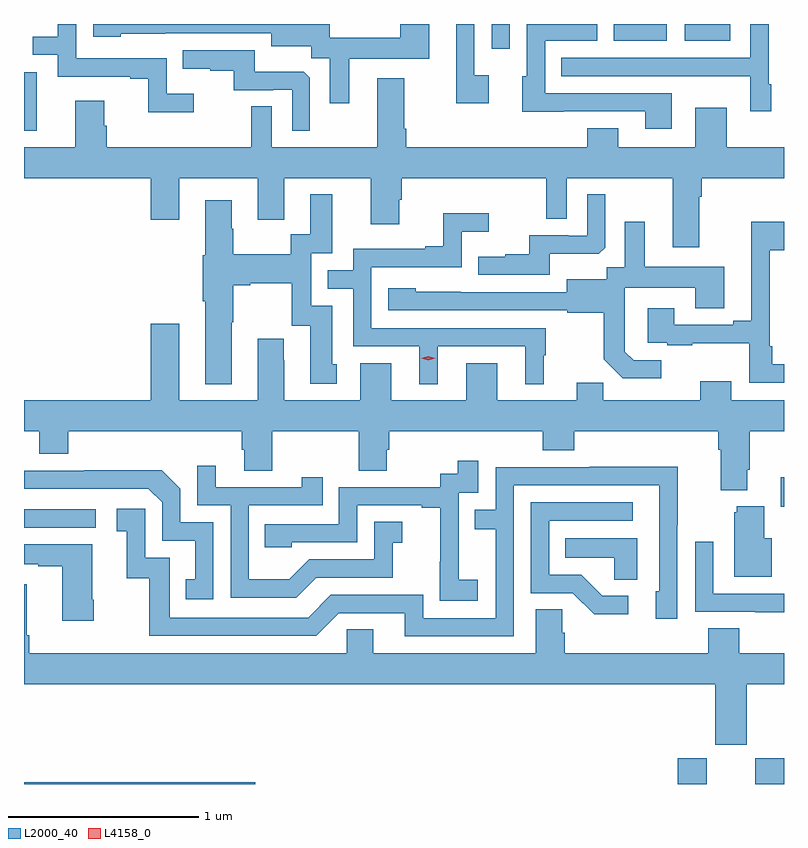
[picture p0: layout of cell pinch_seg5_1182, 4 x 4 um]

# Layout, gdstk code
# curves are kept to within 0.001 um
import gdstk
lib = gdstk.Library(unit=1e-6, precision=1e-09)
def R(c, l, rs):  # rectangles x0, y0, x1, y1
    for r in rs: c.add(gdstk.rectangle(r[:2], r[2:], *l))
def P(c, l, *ps):  # polygons
    for p in ps: c.add(gdstk.Polygon(p, *l))
L2000_40 = (2000, 40)
L4158_0 = (4158, 0)

pinch_seg5_1182 = lib.new_cell('pinch_seg5_1182')
R(pinch_seg5_1182, L2000_40, [(549.425,904.188,550.642,904.196), (552.866,904.188,553.018,904.323), (553.274,904.188,553.425,904.323), (549.425,905.538,549.802,905.634), (553.409,905.647,553.425,905.803), (549.425,907.626,549.493,907.935), (551.886,908.058,551.982,908.188), (552.53,908.099,552.808,908.188), (552.902,908.099,553.141,908.188)])
P(pinch_seg5_1182, L2000_40, [(550.318,907.822),(550.176,907.822),(550.176,908.007),(549.699,908.007),(549.699,908.188),(549.603,908.188),(549.603,908.121),(549.47,908.121),(549.47,908.025),(549.603,908.025),(549.603,907.911),(549.983,907.911),(549.983,907.899),(550.078,907.899),(550.078,907.724),(550.318,907.724)],
  [(552.835,907.824),(552.168,907.824),(552.168,908.1),(552.441,908.1),(552.441,908.188),(552.072,908.188),(552.072,907.914),(552.047,907.914),(552.047,907.727),(552.265,907.727),(552.265,907.728),(552.695,907.728),(552.695,907.638),(552.835,907.638)],
  [(551.872,907.918),(551.796,907.918),(551.796,908.188),(551.699,908.188),(551.699,907.77),(551.872,907.77)],
  [(553.357,907.872),(553.344,907.872),(553.344,908.188),(553.248,908.188),(553.248,908.01),(552.253,908.01),(552.253,907.914),(552.931,907.914),(552.931,907.913),(553.248,907.913),(553.248,907.728),(553.357,907.728)],
  [(551.137,908.006),(551.557,908.006),(551.557,908.188),(551.405,908.188),(551.405,908.116),(551.034,908.116),(551.034,908.188),(549.789,908.188),(549.789,908.12),(549.933,908.12),(549.933,908.138),(550.169,908.138),(550.169,908.139),(550.727,908.139),(550.727,908.072),(550.938,908.072),(550.938,908.008),(551.033,908.008),(551.033,907.77),(551.137,907.77)],
  [(550.929,907.905),(550.897,907.937),(550.639,907.937),(550.639,908.049),(550.261,908.049),(550.261,907.952),(550.405,907.952),(550.405,907.941),(550.529,907.941),(550.529,907.839),(550.736,907.839),(550.736,907.842),(550.836,907.842),(550.836,907.625),(550.929,907.625)],
  [(552.979,907.28),(552.992,907.28),(552.992,907.376),(553.425,907.376),(553.425,907.54),(553.123,907.54),(553.123,907.747),(552.959,907.747),(552.959,907.54),(552.553,907.54),(552.553,907.639),(552.389,907.639),(552.389,907.54),(551.438,907.54),(551.438,907.636),(551.425,907.636),(551.425,907.903),(551.285,907.903),(551.285,907.54),(550.728,907.54),(550.728,907.754),(550.62,907.754),(550.62,907.54),(549.86,907.54),(549.86,907.653),(549.847,907.653),(549.847,907.783),(549.695,907.783),(549.695,907.54),(549.425,907.54),(549.425,907.376),(550.091,907.376),(550.091,907.158),(550.243,907.158),(550.243,907.376),(550.655,907.376),(550.655,907.158),(550.795,907.158),(550.795,907.376),(551.249,907.376),(551.249,907.134),(551.401,907.134),(551.401,907.263),(551.414,907.263),(551.414,907.376),(552.174,907.376),(552.174,907.162),(552.282,907.162),(552.282,907.376),(552.839,907.376),(552.839,907.014),(552.979,907.014)],
  [(550.519,906.619),(550.527,906.619),(550.527,906.812),(550.615,906.812),(550.615,906.824),(550.835,906.824),(550.835,906.6),(550.931,906.6),(550.931,906.294),(551.071,906.294),(551.071,906.396),(551.047,906.396),(551.047,906.705),(550.938,906.705),(550.938,906.981),(551.047,906.981),(551.047,907.291),(550.931,907.291),(550.931,907.082),(550.83,907.082),(550.83,906.976),(550.527,906.976),(550.527,907.11),(550.519,907.11),(550.519,907.261),(550.379,907.261),(550.379,906.972),(550.367,906.972),(550.367,906.728),(550.379,906.728),(550.379,906.293),(550.519,906.293)],
  [(552.193,906.98),(552.451,906.98),(552.483,907.011),(552.483,907.291),(552.39,907.291),(552.39,907.074),(552.29,907.074),(552.29,907.077),(552.083,907.077),(552.083,906.976),(551.959,906.976),(551.959,906.964),(551.815,906.964),(551.815,906.867),(552.193,906.867)],
  [(551.602,906.492),(552.062,906.492),(552.062,906.293),(552.16,906.293),(552.16,906.444),(552.172,906.444),(552.172,906.588),(551.253,906.588),(551.253,906.909),(551.73,906.909),(551.73,907.094),(551.872,907.094),(551.872,907.193),(551.632,907.193),(551.632,907.018),(551.537,907.018),(551.537,907.005),(551.157,907.005),(551.157,906.891),(551.023,906.891),(551.023,906.795),(551.157,906.795),(551.157,906.492),(551.504,906.492),(551.504,906.293),(551.602,906.293)],
  [(552.778,906.417),(552.633,906.417),(552.586,906.464),(552.586,906.559),(552.588,906.559),(552.588,906.8),(552.959,906.8),(552.959,906.691),(553.111,906.691),(553.111,906.91),(552.691,906.91),(552.691,907.147),(552.587,907.147),(552.587,906.908),(552.492,906.908),(552.492,906.844),(552.281,906.844),(552.281,906.777),(551.487,906.778),(551.487,906.796),(551.343,906.796),(551.343,906.681),(552.285,906.681),(552.285,906.669),(552.477,906.669),(552.477,906.423),(552.577,906.323),(552.778,906.323)],
  [(553.425,906.397),(553.363,906.397),(553.363,906.493),(553.35,906.493),(553.35,906.998),(553.425,906.998),(553.425,907.147),(553.253,907.147),(553.253,906.625),(553.157,906.625),(553.157,906.606),(552.847,906.606),(552.847,906.691),(552.707,906.691),(552.707,906.51),(552.811,906.51),(552.811,906.498),(552.943,906.498),(552.943,906.509),(553.242,906.509),(553.242,906.3),(553.425,906.3)],
  [(551.753,906.403),(551.753,906.208),(551.359,906.208),(551.359,906.403),(551.195,906.403),(551.195,906.208),(550.795,906.208),(550.795,906.419),(550.792,906.419),(550.792,906.532),(550.655,906.532),(550.655,906.208),(550.243,906.208),(550.243,906.61),(550.091,906.61),(550.091,906.208),(549.425,906.208),(549.425,906.044),(549.506,906.044),(549.506,905.927),(549.659,905.927),(549.659,906.044),(550.571,906.044),(550.571,905.946),(550.583,905.946),(550.583,905.836),(550.731,905.836),(550.731,906.044),(551.188,906.044),(551.188,905.836),(551.335,905.836),(551.335,905.946),(551.348,905.946),(551.348,906.044),(552.155,906.044),(552.155,905.945),(552.32,905.945),(552.32,906.044),(553.079,906.044),(553.079,905.948),(553.091,905.948),(553.091,905.735),(553.231,905.735),(553.231,905.842),(553.244,905.842),(553.244,906.044),(553.425,906.044),(553.425,906.208),(553.147,906.208),(553.147,906.307),(552.983,906.307),(552.983,906.208),(552.473,906.208),(552.473,906.299),(552.335,906.299),(552.335,906.208),(551.917,906.208),(551.917,906.403)],
  [(551.812,905.263),(551.714,905.263),(551.714,905.492),(551.712,905.492),(551.712,905.721),(551.817,905.721),(551.817,905.89),(551.709,905.89),(551.709,905.82),(551.616,905.82),(551.616,905.751),(551.082,905.751),(551.082,905.556),(550.693,905.556),(550.693,905.433),(550.833,905.433),(550.833,905.46),(551.178,905.46),(551.178,905.655),(551.519,905.655),(551.519,905.643),(551.615,905.643),(551.615,905.359),(551.614,905.359),(551.614,905.153),(551.812,905.153)],
  [(550.963,905.274),(551.367,905.274),(551.367,905.459),(551.416,905.459),(551.416,905.569),(551.268,905.569),(551.268,905.37),(550.926,905.37),(550.822,905.266),(550.608,905.266),(550.608,905.655),(550.997,905.655),(550.997,905.803),(550.886,905.803),(550.886,905.751),(550.435,905.751),(550.435,905.863),(550.338,905.863),(550.338,905.655),(550.512,905.655),(550.512,905.169),(550.858,905.169)],
  [(552.003,905.76),(552.768,905.76),(552.768,905.202),(552.749,905.202),(552.749,905.058),(552.864,905.058),(552.864,905.551),(552.867,905.551),(552.867,905.858),(552.403,905.858),(552.403,905.856),(551.907,905.856),(551.907,905.631),(551.797,905.631),(551.797,905.53),(551.907,905.53),(551.907,905.061),(551.526,905.061),(551.526,905.184),(551.04,905.184),(550.92,905.064),(550.191,905.064),(550.191,905.379),(550.062,905.379),(550.062,905.638),(549.912,905.638),(549.912,905.517),(549.965,905.517),(549.965,905.271),(550.083,905.271),(550.083,904.968),(550.962,904.968),(551.082,905.088),(551.429,905.088),(551.429,904.965),(552.003,904.965)],
  [(550.422,905.565),(550.248,905.565),(550.248,905.742),(550.15,905.84),(549.742,905.84),(549.742,905.838),(549.425,905.838),(549.425,905.742),(550.08,905.742),(550.152,905.67),(550.152,905.469),(550.325,905.469),(550.325,905.265),(550.276,905.265),(550.276,905.16),(550.422,905.16)],
  [(552.604,905.178),(552.469,905.178),(552.358,905.289),(552.189,905.289),(552.189,905.574),(552.628,905.574),(552.628,905.67),(552.093,905.67),(552.093,905.193),(552.312,905.193),(552.425,905.081),(552.604,905.081)],
  [(553.36,905.482),(553.321,905.482),(553.321,905.65),(553.175,905.65),(553.175,905.619),(553.163,905.619),(553.163,905.279),(553.36,905.279)],
  [(552.652,905.482),(552.274,905.482),(552.274,905.378),(552.531,905.378),(552.531,905.263),(552.652,905.263)],
  [(553.425,905.19),(553.053,905.19),(553.053,905.464),(552.957,905.464),(552.957,905.094),(553.273,905.094),(553.273,905.093),(553.425,905.093)],
  [(549.792,905.158),(549.784,905.158),(549.784,905.449),(549.425,905.449),(549.425,905.345),(549.5,905.345),(549.5,905.335),(549.626,905.335),(549.626,905.046),(549.792,905.046)],
  [(553.228,904.712),(553.425,904.712),(553.425,904.876),(553.19,904.876),(553.19,905.009),(553.025,905.009),(553.025,904.876),(552.272,904.876),(552.272,904.985),(552.258,904.985),(552.258,905.108),(552.119,905.108),(552.119,904.876),(551.263,904.876),(551.263,905.003),(551.124,905.003),(551.124,904.876),(549.452,904.876),(549.452,904.972),(549.439,904.972),(549.439,905.239),(549.425,905.239),(549.425,904.712),(553.064,904.712),(553.064,904.395),(553.228,904.395)])
P(pinch_seg5_1182, L4158_0, [(551.553,906.419),(551.517,906.43),(551.517,906.43),(551.517,906.43),(551.553,906.439),(551.589,906.428),(551.589,906.428),(551.589,906.428)])

lib.write_gds('pinch_seg5_1182.gds')
